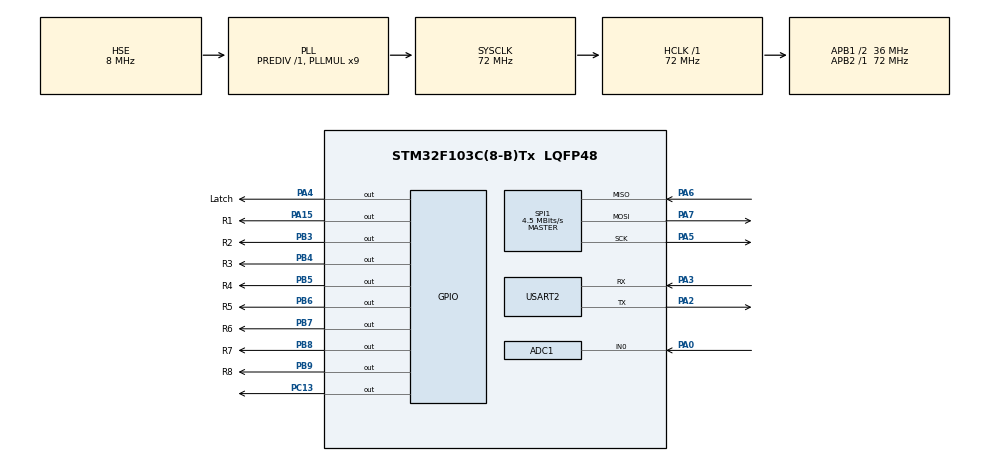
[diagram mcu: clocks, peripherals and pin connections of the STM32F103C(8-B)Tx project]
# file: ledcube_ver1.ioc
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ADC1.Channel-0\#ChannelRegularConversion=ADC_CHANNEL_0
ADC1.ContinuousConvMode=ENABLE
ADC1.NbrOfConversionFlag=1
ADC1.Rank-0\#ChannelRegularConversion=1
ADC1.SamplingTime-0\#ChannelRegularConversion=ADC_SAMPLETIME_1CYCLE_5
ADC1.master=1
Dma.ADC1.0.Direction=DMA_PERIPH_TO_MEMORY
Dma.ADC1.0.Instance=DMA1_Channel1
Dma.ADC1.0.MemDataAlignment=DMA_MDATAALIGN_HALFWORD
Dma.ADC1.0.MemInc=DMA_MINC_ENABLE
Dma.ADC1.0.Mode=DMA_CIRCULAR
Dma.ADC1.0.PeriphDataAlignment=DMA_PDATAALIGN_HALFWORD
Dma.ADC1.0.PeriphInc=DMA_PINC_DISABLE
Dma.ADC1.0.Priority=DMA_PRIORITY_LOW
Dma.Request0=ADC1
Mcu.Family=STM32F1
Mcu.Name=STM32F103C(8-B)Tx
Mcu.Package=LQFP48
NVIC.DMA1_Channel1_IRQn=true\:0\:0\:false\:false\:true\:false\:true\:true
NVIC.PriorityGroup=NVIC_PRIORITYGROUP_4
NVIC.TIM2_IRQn=true\:0\:0\:false\:false\:true\:true\:true\:true
NVIC.USART2_IRQn=true\:0\:0\:false\:false\:true\:true\:true\:true
PA0-WKUP.Signal=ADCx_IN0
PA13.Mode=Serial_Wire
PA13.Signal=SYS_JTMS-SWDIO
PA14.Mode=Serial_Wire
PA14.Signal=SYS_JTCK-SWCLK
PA15.GPIO_Label=R1
PA15.GPIO_Speed=GPIO_SPEED_FREQ_MEDIUM
PA15.PinState=GPIO_PIN_RESET
PA15.Signal=GPIO_Output
PA2.Mode=Asynchronous
PA2.Signal=USART2_TX
PA3.Mode=Asynchronous
PA3.Signal=USART2_RX
PA4.GPIO_Label=Latch
PA4.GPIO_Speed=GPIO_SPEED_FREQ_LOW
PA4.PinState=GPIO_PIN_RESET
PA4.Signal=GPIO_Output
PA5.Mode=Full_Duplex_Master
PA5.Signal=SPI1_SCK
PA6.Mode=Full_Duplex_Master
PA6.Signal=SPI1_MISO
PA7.Mode=Full_Duplex_Master
PA7.Signal=SPI1_MOSI
PB3.GPIO_Label=R2
PB3.GPIO_Speed=GPIO_SPEED_FREQ_MEDIUM
PB3.PinState=GPIO_PIN_RESET
PB3.Signal=GPIO_Output
PB4.GPIO_Label=R3
PB4.GPIO_Speed=GPIO_SPEED_FREQ_MEDIUM
PB4.PinState=GPIO_PIN_RESET
PB4.Signal=GPIO_Output
PB5.GPIO_Label=R4
PB5.GPIO_Speed=GPIO_SPEED_FREQ_MEDIUM
PB5.PinState=GPIO_PIN_RESET
PB5.Signal=GPIO_Output
PB6.GPIO_Label=R5
PB6.GPIO_Speed=GPIO_SPEED_FREQ_MEDIUM
PB6.PinState=GPIO_PIN_RESET
PB6.Signal=GPIO_Output
PB7.GPIO_Label=R6
PB7.GPIO_Speed=GPIO_SPEED_FREQ_MEDIUM
PB7.PinState=GPIO_PIN_RESET
PB7.Signal=GPIO_Output
PB8.GPIO_Label=R7
PB8.GPIO_Speed=GPIO_SPEED_FREQ_MEDIUM
PB8.PinState=GPIO_PIN_RESET
PB8.Signal=GPIO_Output
PB9.GPIO_Label=R8
PB9.GPIO_Speed=GPIO_SPEED_FREQ_MEDIUM
PB9.PinState=GPIO_PIN_RESET
PB9.Signal=GPIO_Output
PC13-TAMPER-RTC.Signal=GPIO_Output
PD0-OSC_IN.Mode=HSE-External-Oscillator
PD0-OSC_IN.Signal=RCC_OSC_IN
PD1-OSC_OUT.Mode=HSE-External-Oscillator
PD1-OSC_OUT.Signal=RCC_OSC_OUT
ProjectManager.HeapSize=0x200
ProjectManager.StackSize=0x400
ProjectManager.TargetToolchain=STM32CubeIDE
RCC.ADCPresc=RCC_ADCPCLK2_DIV6
RCC.AHBFreq_Value=72000000
RCC.APB1CLKDivider=RCC_HCLK_DIV2
RCC.APB1Freq_Value=36000000
RCC.APB1TimFreq_Value=72000000
RCC.APB2Freq_Value=72000000
RCC.APB2TimFreq_Value=72000000
RCC.HCLKFreq_Value=72000000
RCC.PLLMUL=RCC_PLL_MUL9
RCC.PLLSourceVirtual=RCC_PLLSOURCE_HSE
RCC.SYSCLKFreq_VALUE=72000000
RCC.SYSCLKSource=RCC_SYSCLKSOURCE_PLLCLK
RCC.USBFreq_Value=72000000
SH.ADCx_IN0.0=ADC1_IN0,IN0
SPI1.BaudRatePrescaler=SPI_BAUDRATEPRESCALER_16
SPI1.CalculateBaudRate=4.5 MBits/s
SPI1.Direction=SPI_DIRECTION_2LINES
SPI1.Mode=SPI_MODE_MASTER
SPI1.VirtualType=VM_MASTER
TIM2.Period=9
TIM2.Prescaler=7199
USART2.VirtualMode=VM_ASYNC
VP_TIM2_VS_ClockSourceINT.Mode=Internal
board=custom

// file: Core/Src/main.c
/* USER CODE BEGIN Header */
/**
  ******************************************************************************
  * @file           : main.c
  * @brief          : Main program body - FIXED VERSION
  ******************************************************************************
  */
/* USER CODE END Header */
#include "main.h"

/* USER CODE BEGIN Includes */
#include "min.h"
#include "min_port.h"
#include "App_Comms.h"
#include "effects_manager.h"
#include "display_led.h"
/* USER CODE END Includes */

/* USER CODE BEGIN PD */
#define STATUS_LED_PIN GPIO_PIN_13
#define STATUS_LED_PORT GPIOC
/* USER CODE END PD */

ADC_HandleTypeDef hadc1;
DMA_HandleTypeDef hdma_adc1;

SPI_HandleTypeDef hspi1;

TIM_HandleTypeDef htim2;

UART_HandleTypeDef huart2;

/* USER CODE BEGIN PV */
// Biến để theo dõi sự thay đổi mode từ ESP32
uint8_t last_app_mode = 255;
// --- BUFFER HIỂN THỊ LED CUBE (8x8x8 bits) ---
uint8_t cube_buffer[8][8];

// --- MAPPING CHÂN LAYER ---
GPIO_TypeDef* LAYER_PORTS[8] = {GPIOB, GPIOB, GPIOB, GPIOB, GPIOB, GPIOB, GPIOB, GPIOA};
uint16_t LAYER_PINS[8]       = {GPIO_PIN_9, GPIO_PIN_8, GPIO_PIN_7, GPIO_PIN_6, GPIO_PIN_5, GPIO_PIN_4, GPIO_PIN_3, GPIO_PIN_15};

// Biến quản lý thời gian
uint32_t last_effect_tick = 0;
/* USER CODE END PV */

void SystemClock_Config(void);
static void MX_GPIO_Init(void);
static void MX_DMA_Init(void);
static void MX_ADC1_Init(void);
static void MX_SPI1_Init(void);
static void MX_USART2_UART_Init(void);
static void MX_TIM2_Init(void);
/* USER CODE BEGIN PFP */
void Cube_Refresh(void);
void Clear_Cube(void);
void Set_Voxel(uint8_t x, uint8_t y, uint8_t z, uint8_t state);

// Khai báo prototype các hàm hiệu ứng
void Effect_Rain_Run(uint16_t speed);
void Effect_Scan_Columns_Run(uint16_t speed);
/* USER CODE END PFP */

/* USER CODE BEGIN 0 */
#ifdef __GNUC__
int _write(int file, char *ptr, int len) {
    return len;
}
#endif
/* USER CODE END 0 */

int main(void)
{

  /* MCU Configuration--------------------------------------------------------*/

  /* Reset of all peripherals, Initializes the Flash interface and the Systick. */
  HAL_Init();

  /* Configure the system clock */
  SystemClock_Config();

  /* Initialize all configured peripherals */
  MX_GPIO_Init();
  MX_DMA_Init();
  MX_ADC1_Init();
  MX_SPI1_Init();
  MX_USART2_UART_Init();
  MX_TIM2_Init();
  /* USER CODE BEGIN 2 */
  // 1. Remap chân JTAG để giải phóng PA15, PB3, PB4
  __HAL_RCC_AFIO_CLK_ENABLE();
  __HAL_AFIO_REMAP_SWJ_NOJTAG();

  // 2. Khởi tạo giao tiếp MIN
  App_Comms_Init();
  // 3. Khởi tạo Trình quản lý hiệu ứng
    Effects_Manager_Init();
  // 3. Xóa màn hình & Test LED
  Clear_Cube();
  Set_Voxel(0, 0, 0, 1); // Bật 1 LED góc để test nguồn
  /* USER CODE END 2 */

  /* Infinite loop */
  while (1)
  {

    /* USER CODE BEGIN 3 */
	  // --- 1. QUAN TRỌNG NHẤT: QUÉT LED LIÊN TỤC ---
	      // Nhóm Non-Blocking (Mưa, Đếm ngược...) sống nhờ dòng này.
	      // Nếu thiếu dòng này, chúng sẽ tính toán nhưng không hiển thị gì (hoặc đứng yên).
	      Cube_Refresh();

	      // --- 2. Logic cập nhật Mode từ ESP32 ---
	      extern volatile uint8_t current_mode;
	      extern volatile uint16_t current_speed;

	      if (current_mode != last_app_mode)
	      {
	          Effects_Manager_SetMode((CubeMode_t)current_mode);
	          last_app_mode = current_mode;
	      }

	      // --- 3. Chạy logic hiệu ứng ---
	      Effects_Manager_Run();
	    }
  /* USER CODE END 3 */
}

/* ========================================================================= */
/* PHẦN CODE BỊ THIẾU: DRIVER LED CUBE & HIỆU ỨNG                            */
/* (Dán đoạn này vào cuối cùng file main.c)                                  */
/* ========================================================================= */

// 1. Hàm Xóa bộ nhớ đệm
void Clear_Cube(void) {
    memset(cube_buffer, 0, sizeof(cube_buffer));
}

// 2. Hàm Bật/Tắt 1 điểm LED tại tọa độ (x,y,z)
void Set_Voxel(uint8_t x, uint8_t y, uint8_t z, uint8_t state) {
    if (x > 7 || y > 7 || z > 7) return;
    if (state) cube_buffer[z][y] |= (1 << x);
    else       cube_buffer[z][y] &= ~(1 << x);
}

// 3. Hàm Gửi dữ liệu ra IC 74HC595
void Shift_Registers_Output(uint8_t *data_arr) {
    HAL_SPI_Transmit(&hspi1, data_arr, 8, 10);
    // Tạo xung Latch
    HAL_GPIO_WritePin(GPIOA, GPIO_PIN_4, GPIO_PIN_SET);
    // Delay rất ngắn để IC nhận
    for(volatile int i=0; i<10; i++);
    HAL_GPIO_WritePin(GPIOA, GPIO_PIN_4, GPIO_PIN_RESET);
}

// 4. Hàm Bật tầng Z, tắt các tầng khác
void Layer_On(uint8_t z) {
    // Tắt hết
    for(int i=0; i<8; i++) {
        HAL_GPIO_WritePin(LAYER_PORTS[i], LAYER_PINS[i], GPIO_PIN_RESET);
    }
    // Bật tầng z
    if (z < 8) {
        HAL_GPIO_WritePin(LAYER_PORTS[z], LAYER_PINS[z], GPIO_PIN_SET);
    }
}

// 5. Hàm quét LED (Multiplexing)
void Cube_Refresh(void) {
    static uint8_t current_layer = 0;

    // Tắt Layer cũ
    Layer_On(8);

    // Đẩy dữ liệu Layer mới
    Shift_Registers_Output(cube_buffer[current_layer]);

    // Bật Layer mới
    Layer_On(current_layer);

    // Giữ sáng
    HAL_Delay(2);

    // Chuyển sang layer tiếp theo
    current_layer++;
    if (current_layer >= 8) current_layer = 0;
}

// 6. Hiệu ứng Mưa rơi
void Effect_Rain_Run(uint16_t speed) {
    static uint32_t last_rain_tick = 0;

    if (HAL_GetTick() - last_rain_tick >= speed) {
        last_rain_tick = HAL_GetTick();

        for (int z = 0; z < 7; z++) {
            for (int y = 0; y < 8; y++) {
                cube_buffer[z][y] = cube_buffer[z+1][y];
            }
        }

        for (int y = 0; y < 8; y++) {
            cube_buffer[7][y] = 0;
            if ((rand() % 10) > 6) {
                uint8_t x = rand() % 8;
                Set_Voxel(x, y, 7, 1);
            }
        }
    }
}

// 7. Hiệu ứng Quét cột
void Effect_Scan_Columns_Run(uint16_t speed) {
    static uint32_t last_scan_tick = 0;
    static uint8_t x=0, y=0;

    if (HAL_GetTick() - last_scan_tick >= speed) {
        last_scan_tick = HAL_GetTick();
        Clear_Cube();
        for(int z=0; z<8; z++) Set_Voxel(x, y, z, 1);
        y++;
        if(y > 7) { y = 0; x++; }
        if(x > 7) { x = 0; }
    }
}

// --- THÊM HÀM NÀY VÀO ---
void Delay_Effect(uint32_t ms) {
    uint32_t start = HAL_GetTick();
    // Vòng lặp chờ: Trong lúc chờ vẫn phải quét LED liên tục
    while((HAL_GetTick() - start) < ms) {
        Cube_Refresh();
    }
}
void SystemClock_Config(void)
{
  RCC_OscInitTypeDef RCC_OscInitStruct = {0};
  RCC_ClkInitTypeDef RCC_ClkInitStruct = {0};
  RCC_PeriphCLKInitTypeDef PeriphClkInit = {0};

  /** Initializes the RCC Oscillators according to the specified parameters
  * in the RCC_OscInitTypeDef structure.
  */
  RCC_OscInitStruct.OscillatorType = RCC_OSCILLATORTYPE_HSE;
  RCC_OscInitStruct.HSEState = RCC_HSE_ON;
  RCC_OscInitStruct.HSEPredivValue = RCC_HSE_PREDIV_DIV1;
  RCC_OscInitStruct.HSIState = RCC_HSI_ON;
  RCC_OscInitStruct.PLL.PLLState = RCC_PLL_ON;
  RCC_OscInitStruct.PLL.PLLSource = RCC_PLLSOURCE_HSE;
  RCC_OscInitStruct.PLL.PLLMUL = RCC_PLL_MUL9;
  if (HAL_RCC_OscConfig(&RCC_OscInitStruct) != HAL_OK)
  {
    Error_Handler();
  }

  /** Initializes the CPU, AHB and APB buses clocks
  */
  RCC_ClkInitStruct.ClockType = RCC_CLOCKTYPE_HCLK|RCC_CLOCKTYPE_SYSCLK
                              |RCC_CLOCKTYPE_PCLK1|RCC_CLOCKTYPE_PCLK2;
  RCC_ClkInitStruct.SYSCLKSource = RCC_SYSCLKSOURCE_PLLCLK;
  RCC_ClkInitStruct.AHBCLKDivider = RCC_SYSCLK_DIV1;
  RCC_ClkInitStruct.APB1CLKDivider = RCC_HCLK_DIV2;
  RCC_ClkInitStruct.APB2CLKDivider = RCC_HCLK_DIV1;

  if (HAL_RCC_ClockConfig(&RCC_ClkInitStruct, FLASH_LATENCY_2) != HAL_OK)
  {
    Error_Handler();
  }
  PeriphClkInit.PeriphClockSelection = RCC_PERIPHCLK_ADC;
  PeriphClkInit.AdcClockSelection = RCC_ADCPCLK2_DIV6;
  if (HAL_RCCEx_PeriphCLKConfig(&PeriphClkInit) != HAL_OK)
  {
    Error_Handler();
  }
}

static void MX_ADC1_Init(void)
{

  ADC_ChannelConfTypeDef sConfig = {0};

  /** Common config
  */
  hadc1.Instance = ADC1;
  hadc1.Init.ScanConvMode = ADC_SCAN_DISABLE;
  hadc1.Init.ContinuousConvMode = ENABLE;
  hadc1.Init.DiscontinuousConvMode = DISABLE;
  hadc1.Init.ExternalTrigConv = ADC_SOFTWARE_START;
  hadc1.Init.DataAlign = ADC_DATAALIGN_RIGHT;
  hadc1.Init.NbrOfConversion = 1;
  if (HAL_ADC_Init(&hadc1) != HAL_OK)
  {
    Error_Handler();
  }

  /** Configure Regular Channel
  */
  sConfig.Channel = ADC_CHANNEL_0;
  sConfig.Rank = ADC_REGULAR_RANK_1;
  sConfig.SamplingTime = ADC_SAMPLETIME_1CYCLE_5;
  if (HAL_ADC_ConfigChannel(&hadc1, &sConfig) != HAL_OK)
  {
    Error_Handler();
  }

}

static void MX_SPI1_Init(void)
{

  /* SPI1 parameter configuration*/
  hspi1.Instance = SPI1;
  hspi1.Init.Mode = SPI_MODE_MASTER;
  hspi1.Init.Direction = SPI_DIRECTION_2LINES;
  hspi1.Init.DataSize = SPI_DATASIZE_8BIT;
  hspi1.Init.CLKPolarity = SPI_POLARITY_LOW;
  hspi1.Init.CLKPhase = SPI_PHASE_1EDGE;
  hspi1.Init.NSS = SPI_NSS_SOFT;
  hspi1.Init.BaudRatePrescaler = SPI_BAUDRATEPRESCALER_16;
  hspi1.Init.FirstBit = SPI_FIRSTBIT_MSB;
  hspi1.Init.TIMode = SPI_TIMODE_DISABLE;
  hspi1.Init.CRCCalculation = SPI_CRCCALCULATION_DISABLE;
  hspi1.Init.CRCPolynomial = 10;
  if (HAL_SPI_Init(&hspi1) != HAL_OK)
  {
    Error_Handler();
  }

}

static void MX_TIM2_Init(void)
{

  TIM_ClockConfigTypeDef sClockSourceConfig = {0};
  TIM_MasterConfigTypeDef sMasterConfig = {0};

  htim2.Instance = TIM2;
  htim2.Init.Prescaler = 7199;
  htim2.Init.CounterMode = TIM_COUNTERMODE_UP;
  htim2.Init.Period = 9;
  htim2.Init.ClockDivision = TIM_CLOCKDIVISION_DIV1;
  htim2.Init.AutoReloadPreload = TIM_AUTORELOAD_PRELOAD_DISABLE;
  if (HAL_TIM_Base_Init(&htim2) != HAL_OK)
  {
    Error_Handler();
  }
  sClockSourceConfig.ClockSource = TIM_CLOCKSOURCE_INTERNAL;
  if (HAL_TIM_ConfigClockSource(&htim2, &sClockSourceConfig) != HAL_OK)
  {
    Error_Handler();
  }
  sMasterConfig.MasterOutputTrigger = TIM_TRGO_RESET;
  sMasterConfig.MasterSlaveMode = TIM_MASTERSLAVEMODE_DISABLE;
  if (HAL_TIMEx_MasterConfigSynchronization(&htim2, &sMasterConfig) != HAL_OK)
  {
    Error_Handler();
  }

}

static void MX_USART2_UART_Init(void)
{

  huart2.Instance = USART2;
  huart2.Init.BaudRate = 115200;
  huart2.Init.WordLength = UART_WORDLENGTH_8B;
  huart2.Init.StopBits = UART_STOPBITS_1;
  huart2.Init.Parity = UART_PARITY_NONE;
  huart2.Init.Mode = UART_MODE_TX_RX;
  huart2.Init.HwFlowCtl = UART_HWCONTROL_NONE;
  huart2.Init.OverSampling = UART_OVERSAMPLING_16;
  if (HAL_UART_Init(&huart2) != HAL_OK)
  {
    Error_Handler();
  }

}

static void MX_DMA_Init(void)
{

  /* DMA controller clock enable */
  __HAL_RCC_DMA1_CLK_ENABLE();

  /* DMA interrupt init */
  /* DMA1_Channel1_IRQn interrupt configuration */
  HAL_NVIC_SetPriority(DMA1_Channel1_IRQn, 0, 0);
  HAL_NVIC_EnableIRQ(DMA1_Channel1_IRQn);

}

static void MX_GPIO_Init(void)
{
  GPIO_InitTypeDef GPIO_InitStruct = {0};

  /* GPIO Ports Clock Enable */
  __HAL_RCC_GPIOC_CLK_ENABLE();
  __HAL_RCC_GPIOD_CLK_ENABLE();
  __HAL_RCC_GPIOA_CLK_ENABLE();
  __HAL_RCC_GPIOB_CLK_ENABLE();

  /*Configure GPIO pin Output Level */
  HAL_GPIO_WritePin(GPIOC, GPIO_PIN_13, GPIO_PIN_RESET);

  /*Configure GPIO pin Output Level */
  HAL_GPIO_WritePin(GPIOA, Latch_Pin|R1_Pin, GPIO_PIN_RESET);

  /*Configure GPIO pin Output Level */
  HAL_GPIO_WritePin(GPIOB, R2_Pin|R3_Pin|R4_Pin|R5_Pin
                          |R6_Pin|R7_Pin|R8_Pin, GPIO_PIN_RESET);

  /*Configure GPIO pin : PC13 */
  GPIO_InitStruct.Pin = GPIO_PIN_13;
  GPIO_InitStruct.Mode = GPIO_MODE_OUTPUT_PP;
  GPIO_InitStruct.Pull = GPIO_NOPULL;
  GPIO_InitStruct.Speed = GPIO_SPEED_FREQ_LOW;
  HAL_GPIO_Init(GPIOC, &GPIO_InitStruct);

  /*Configure GPIO pin : Latch_Pin */
  GPIO_InitStruct.Pin = Latch_Pin;
  GPIO_InitStruct.Mode = GPIO_MODE_OUTPUT_PP;
  GPIO_InitStruct.Pull = GPIO_NOPULL;
  GPIO_InitStruct.Speed = GPIO_SPEED_FREQ_LOW;
  HAL_GPIO_Init(Latch_GPIO_Port, &GPIO_InitStruct);

  /*Configure GPIO pin : R1_Pin */
  GPIO_InitStruct.Pin = R1_Pin;
  GPIO_InitStruct.Mode = GPIO_MODE_OUTPUT_PP;
  GPIO_InitStruct.Pull = GPIO_NOPULL;
  GPIO_InitStruct.Speed = GPIO_SPEED_FREQ_MEDIUM;
  HAL_GPIO_Init(R1_GPIO_Port, &GPIO_InitStruct);

  /*Configure GPIO pins : R2_Pin R3_Pin R4_Pin R5_Pin
                           R6_Pin R7_Pin R8_Pin */
  GPIO_InitStruct.Pin = R2_Pin|R3_Pin|R4_Pin|R5_Pin
                          |R6_Pin|R7_Pin|R8_Pin;
  GPIO_InitStruct.Mode = GPIO_MODE_OUTPUT_PP;
  GPIO_InitStruct.Pull = GPIO_NOPULL;
  GPIO_InitStruct.Speed = GPIO_SPEED_FREQ_MEDIUM;
  HAL_GPIO_Init(GPIOB, &GPIO_InitStruct);

}

void Error_Handler(void)
{
  __disable_irq();
  while (1)
  {
  }
}
